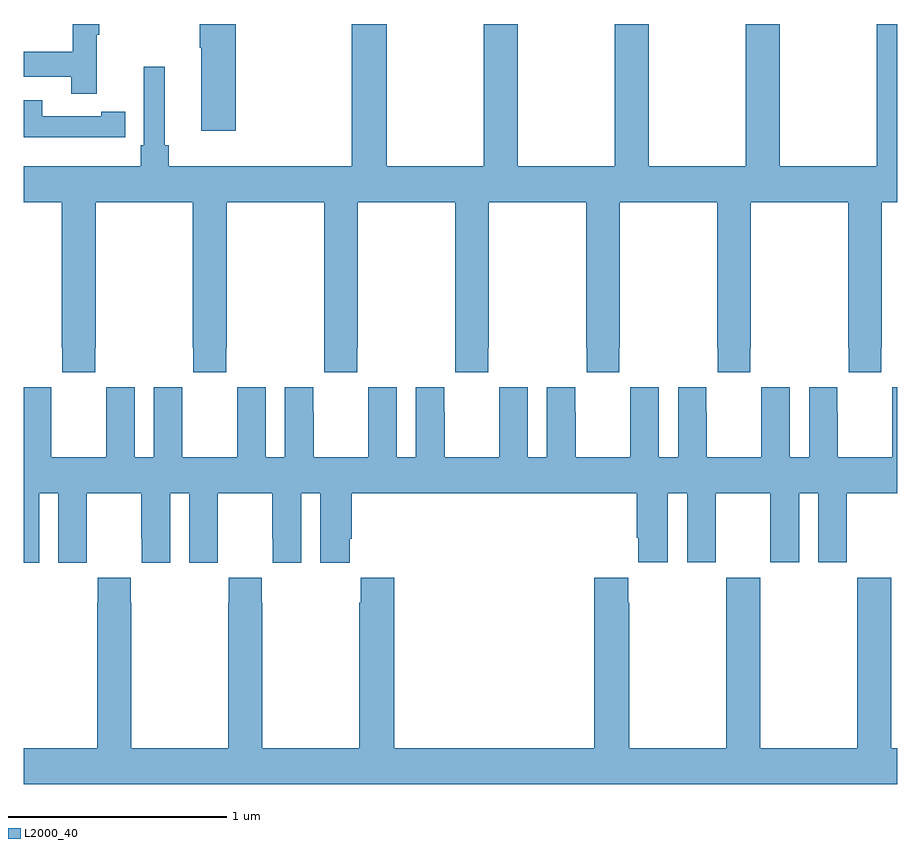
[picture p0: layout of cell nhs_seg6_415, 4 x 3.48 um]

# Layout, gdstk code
import gdstk
lib = gdstk.Library(unit=1e-6, precision=1e-09)
def P(c, l, *ps):  # polygons
    for p in ps: c.add(gdstk.Polygon(p, *l))
L2000_40 = (2000, 40)

nhs_seg6_415 = lib.new_cell('nhs_seg6_415')
P(nhs_seg6_415, L2000_40, [(135.327,932.017),(135.33,932.017),(135.33,932.684),(135.775,932.684),(135.775,932.017),(135.777,932.017),(135.777,931.905),(135.927,931.905),(135.927,932.017),(135.93,932.017),(135.93,932.684),(136.375,932.684),(136.375,932.017),(136.377,932.017),(136.377,931.905),(136.527,931.905),(136.527,932.017),(136.53,932.017),(136.53,932.684),(136.975,932.684),(136.975,932.017),(136.977,932.017),(136.977,931.905),(137.127,931.905),(137.127,932.017),(137.13,932.017),(137.13,932.684),(137.575,932.684),(137.575,932.017),(137.577,932.017),(137.577,931.905),(137.727,931.905),(137.727,932.017),(137.73,932.017),(137.73,932.684),(138.175,932.684),(138.175,932.017),(138.177,932.017),(138.177,931.905),(138.327,931.905),(138.327,932.017),(138.33,932.017),(138.33,932.684),(138.775,932.684),(138.775,932.017),(138.777,932.017),(138.777,931.905),(138.927,931.905),(138.927,932.017),(138.93,932.017),(138.93,932.684),(139,932.684),(139,933.5),(138.907,933.5),(138.907,932.848),(138.462,932.848),(138.462,933.5),(138.307,933.5),(138.307,932.848),(137.862,932.848),(137.862,933.5),(137.707,933.5),(137.707,932.848),(137.262,932.848),(137.262,933.5),(137.107,933.5),(137.107,932.848),(136.662,932.848),(136.662,933.5),(136.502,933.5),(136.502,932.848),(135.665,932.848),(135.665,932.944),(135.646,932.944),(135.646,933.304),(135.549,933.304),(135.549,932.944),(135.536,932.944),(135.536,932.848),(135,932.848),(135,932.684),(135.175,932.684),(135.175,932.017),(135.177,932.017),(135.177,931.905),(135.327,931.905)],
  [(135.971,933.5),(135.805,933.5),(135.805,933.391),(135.812,933.391),(135.812,933.012),(135.971,933.012)],
  [(135.335,933.451),(135.346,933.451),(135.346,933.5),(135.225,933.5),(135.225,933.374),(135.001,933.374),(135.001,933.354),(135,933.354),(135,933.258),(135.217,933.258),(135.217,933.18),(135.335,933.18)],
  [(135.356,932.982),(135.464,932.982),(135.464,933.098),(135.356,933.098),(135.356,933.078),(135.084,933.078),(135.084,933.15),(135,933.15),(135,932.981),(135.356,932.981)],
  [(135.07,931.352),(135.158,931.352),(135.158,931.032),(135.288,931.032),(135.288,931.144),(135.289,931.144),(135.289,931.352),(135.539,931.352),(135.539,931.144),(135.54,931.144),(135.54,931.032),(135.67,931.032),(135.67,931.352),(135.758,931.352),(135.758,931.032),(135.888,931.032),(135.888,931.144),(135.889,931.144),(135.889,931.352),(136.139,931.352),(136.139,931.144),(136.14,931.144),(136.14,931.032),(136.27,931.032),(136.27,931.352),(136.358,931.352),(136.358,931.032),(136.492,931.032),(136.492,931.144),(136.502,931.144),(136.502,931.352),(137.807,931.352),(137.807,931.147),(137.813,931.147),(137.813,931.035),(137.95,931.035),(137.95,931.352),(138.038,931.352),(138.038,931.035),(138.169,931.035),(138.169,931.352),(138.419,931.352),(138.419,931.035),(138.55,931.035),(138.55,931.352),(138.638,931.352),(138.638,931.035),(138.769,931.035),(138.769,931.352),(139,931.352),(139,931.837),(138.978,931.837),(138.978,931.724),(138.977,931.724),(138.977,931.516),(138.727,931.516),(138.727,931.724),(138.726,931.724),(138.726,931.837),(138.596,931.837),(138.596,931.516),(138.508,931.516),(138.508,931.837),(138.378,931.837),(138.378,931.724),(138.377,931.724),(138.377,931.516),(138.127,931.516),(138.127,931.724),(138.126,931.724),(138.126,931.837),(137.996,931.837),(137.996,931.516),(137.908,931.516),(137.908,931.837),(137.778,931.837),(137.778,931.724),(137.777,931.724),(137.777,931.516),(137.527,931.516),(137.527,931.724),(137.526,931.724),(137.526,931.837),(137.396,931.837),(137.396,931.516),(137.308,931.516),(137.308,931.837),(137.178,931.837),(137.178,931.724),(137.177,931.724),(137.177,931.516),(136.927,931.516),(136.927,931.724),(136.926,931.724),(136.926,931.837),(136.796,931.837),(136.796,931.516),(136.708,931.516),(136.708,931.837),(136.578,931.837),(136.578,931.724),(136.577,931.724),(136.577,931.516),(136.327,931.516),(136.327,931.724),(136.326,931.724),(136.326,931.837),(136.196,931.837),(136.196,931.516),(136.108,931.516),(136.108,931.837),(135.978,931.837),(135.978,931.724),(135.977,931.724),(135.977,931.516),(135.727,931.516),(135.727,931.724),(135.726,931.724),(135.726,931.837),(135.596,931.837),(135.596,931.516),(135.508,931.516),(135.508,931.837),(135.378,931.837),(135.378,931.724),(135.377,931.724),(135.377,931.516),(135.127,931.516),(135.127,931.724),(135.126,931.724),(135.126,931.837),(135,931.837),(135,931.032),(135.07,931.032)],
  [(139,930.184),(138.972,930.184),(138.972,930.964),(138.817,930.964),(138.817,930.184),(138.372,930.184),(138.372,930.964),(138.217,930.964),(138.217,930.184),(137.772,930.184),(137.772,930.851),(137.767,930.851),(137.767,930.964),(137.612,930.964),(137.612,930.184),(136.697,930.184),(136.697,930.964),(136.543,930.964),(136.543,930.851),(136.537,930.851),(136.537,930.184),(136.092,930.184),(136.092,930.851),(136.089,930.851),(136.089,930.964),(135.939,930.964),(135.939,930.851),(135.937,930.851),(135.937,930.184),(135.492,930.184),(135.492,930.851),(135.489,930.851),(135.489,930.964),(135.339,930.964),(135.339,930.851),(135.337,930.851),(135.337,930.184),(135,930.184),(135,930.02),(139,930.02)])

lib.write_gds('nhs_seg6_415.gds')
